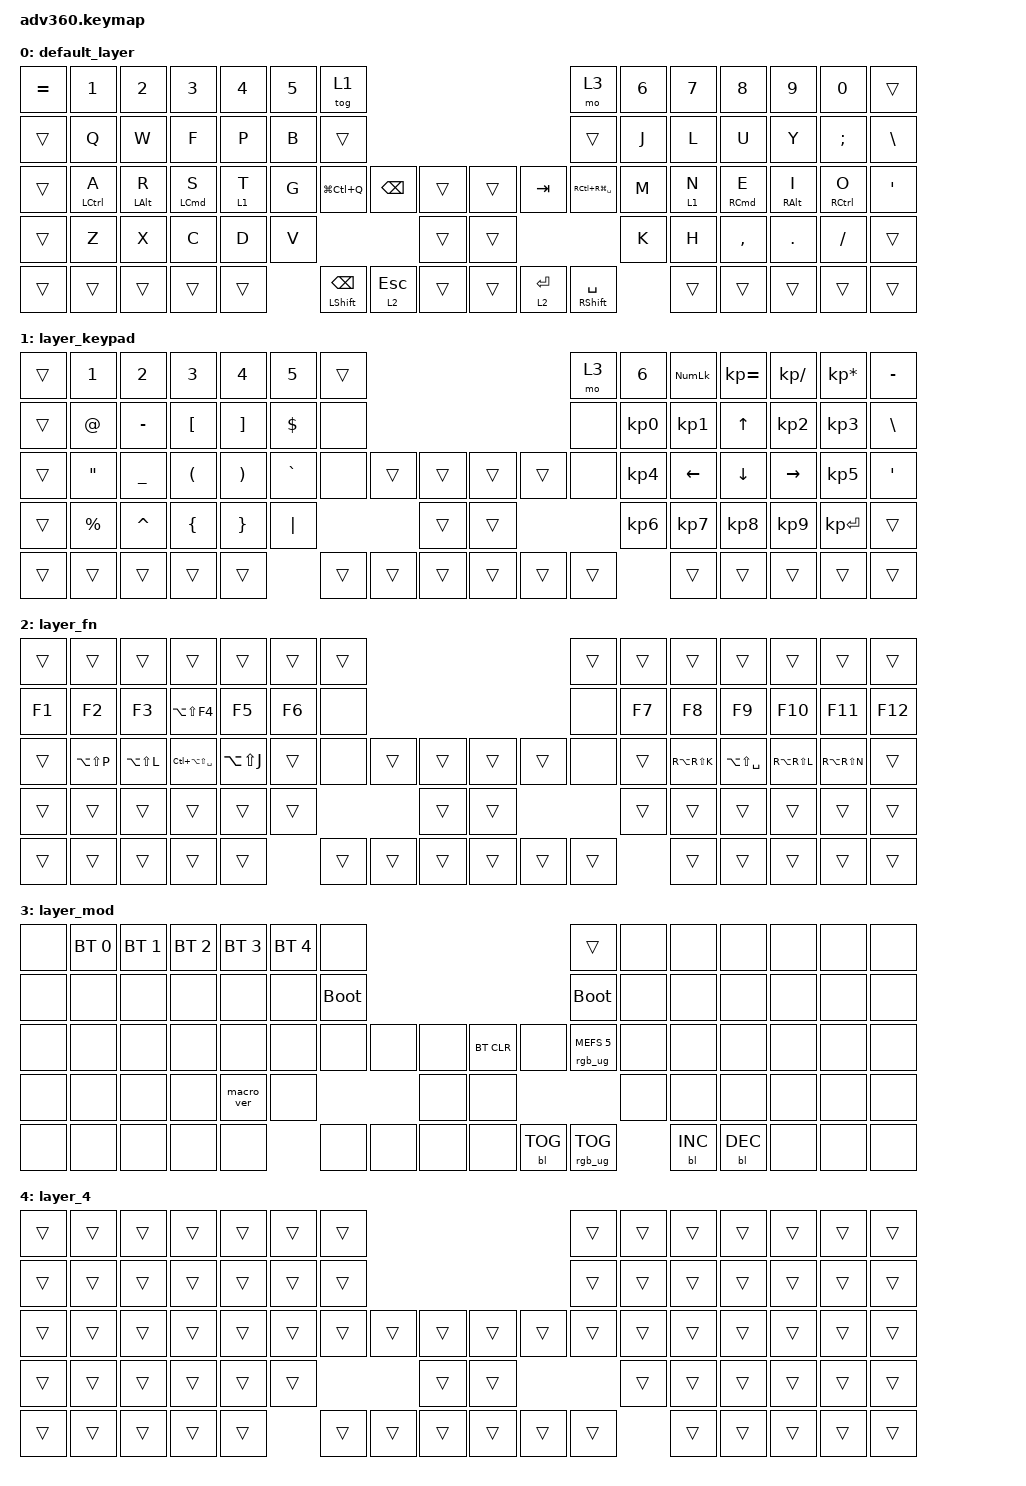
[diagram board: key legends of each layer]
/*
 * Copyright (c) 2020 The ZMK Contributors
 *
 * SPDX-License-Identifier: MIT
 */
/* THIS FILE WAS GENERATED!
 *
 * This file was generated automatically. You may or may not want to
 * edit it directly.
 */

#include <behaviors.dtsi>
#include <dt-bindings/zmk/backlight.h>
#include <dt-bindings/zmk/bt.h>
#include <dt-bindings/zmk/keys.h>
#include <dt-bindings/zmk/rgb.h>

&mt {
    flavor = "tap-preferred";
    tapping-term-ms = <200>;
};

/ {
    behaviors {
        #include "macros.dtsi"
    #include "version.dtsi"

        hm: homerow_mods {
            compatible = "zmk,behavior-hold-tap";
            label = "HOMEROW_MODS";
            #binding-cells = <2>;
            tapping-term-ms = <280>;
            quick_tap_ms = <175>;
            flavor = "balanced";
            bindings = <&kp>, <&kp>;

            quick-tap-ms = <175>;
            require-prior-idle-ms = <150>;
        };

        hm_left: hm_left {
            compatible = "zmk,behavior-hold-tap";
            label = "HM_LEFT";
            #binding-cells = <2>;
            tapping-term-ms = <300>;
            quick_tap_ms = <175>;
            flavor = "balanced";
            bindings = <&kp>, <&kp>;

            quick-tap-ms = <175>;
            require-prior-idle-ms = <175>;
            hold-trigger-on-release;
            hold-trigger-key-positions = <7 8 9 10 11 21 22 23 24 25 38 39 40 41 42 43 54 55 56 57 69 70 71 72 73 37 53 68 12 13 26 27 44 45 58 59 74 75>;
        };

        hm_right: hm_right {
            compatible = "zmk,behavior-hold-tap";
            label = "HM_RIGHT";
            #binding-cells = <2>;
            tapping-term-ms = <300>;
            quick_tap_ms = <175>;
            flavor = "balanced";
            bindings = <&kp>, <&kp>;

            quick-tap-ms = <175>;
            require-prior-idle-ms = <175>;
            hold-trigger-on-release;
            hold-trigger-key-positions = <0 1 2 3 4 5 6 14 15 16 17 18 19 20 28 29 30 31 32 33 34 35 36 46 47 48 49 50 51 52 60 61 62 63 64 65 66 67>;
        };

        favor_tap: favor_tap {
            compatible = "zmk,behavior-hold-tap";
            label = "FAVOR_TAP";
            bindings = <&kp>, <&kp>;

            #binding-cells = <2>;
            flavor = "tap-unless-interrupted";
            tapping-term-ms = <500>;
            quick-tap-ms = <200>;
            hold-while-undecided;
        };

        hl_left: hl_left {
            compatible = "zmk,behavior-hold-tap";
            label = "HL_LEFT";
            #binding-cells = <2>;
            tapping-term-ms = <300>;
            quick_tap_ms = <175>;
            flavor = "balanced";
            bindings = <&mo>, <&kp>;

            quick-tap-ms = <175>;
            require-prior-idle-ms = <175>;
            hold-trigger-on-release;
            hold-trigger-key-positions = <7 8 9 10 11 21 22 23 24 25 38 39 40 41 42 43 54 55 56 57 69 70 71 72 73 37 53 68 12 13 26 27 44 45 58 59 74 75>;
        };

        hl_right: hl_right {
            compatible = "zmk,behavior-hold-tap";
            label = "HL_RIGHT";
            #binding-cells = <2>;
            tapping-term-ms = <300>;
            quick_tap_ms = <175>;
            flavor = "balanced";
            bindings = <&mo>, <&kp>;

            quick-tap-ms = <175>;
            require-prior-idle-ms = <175>;
            hold-trigger-on-release;
            hold-trigger-key-positions = <0 1 2 3 4 5 6 14 15 16 17 18 19 20 28 29 30 31 32 33 34 35 36 46 47 48 49 50 51 52 60 61 62 63 64 65 66 67>;
        };
    };

    combos {
        compatible = "zmk,combos";

        shortcat {
            bindings = <&kp RG(BACKSPACE)>;
            key-positions = <70 65>;
        };

        cycle_apps {
            bindings = <&kp RG(TAB)>;
            key-positions = <66 69>;
        };
    };

    keymap {
        compatible = "zmk,keymap";

        default_layer {
            bindings = <
&kp EQUAL  &kp N1                   &kp N2               &kp N3                   &kp N4        &kp N5  &tog 1                                                                           &mo 3              &kp N6  &kp N7         &kp N8                     &kp N9                 &kp N0                     &trans
&trans     &kp Q                    &kp W                &kp F                    &kp P         &kp B   &trans                                                                           &trans             &kp J   &kp L          &kp U                      &kp Y                  &kp SEMICOLON              &kp BSLH
&trans     &hm_left LEFT_CONTROL A  &hm_left LEFT_ALT R  &hm_left LEFT_COMMAND S  &hl_left 1 T  &kp G   &kp LG(LC(Q))                    &kp BACKSPACE  &trans      &trans  &kp TAB      &kp RC(RG(SPACE))  &kp M   &hl_right 1 N  &hm_right RIGHT_COMMAND E  &hm_right RIGHT_ALT I  &hm_right RIGHT_CONTROL O  &kp SQT
&trans     &kp Z                    &kp X                &kp C                    &kp D         &kp V                                                   &trans      &trans                                  &kp K   &kp H          &kp COMMA                  &kp DOT                &kp FSLH                   &trans
&trans     &trans                   &trans               &trans                   &trans                &favor_tap LEFT_SHIFT BACKSPACE  &lt 2 ESC      &trans      &trans  &lt 2 ENTER  &mt RSHIFT SPACE           &trans         &trans                     &trans                 &trans                     &trans
            >;
        };

        layer_keypad {
            bindings = <
&trans  &kp N1             &kp N2          &kp N3                &kp N4                 &kp N5      &trans                                      &mo 3   &kp N6           &kp KP_NUM       &kp KP_EQUAL     &kp KP_DIVIDE    &kp KP_MULTIPLY  &kp MINUS
&trans  &kp AT_SIGN        &kp MINUS       &kp LEFT_BRACKET      &kp RIGHT_BRACKET      &kp DOLLAR  &none                                       &none   &kp KP_N0        &kp KP_N1        &kp UP_ARROW     &kp KP_NUMBER_2  &kp KP_NUMBER_3  &kp BSLH
&trans  &kp DOUBLE_QUOTES  &kp UNDERSCORE  &kp LEFT_PARENTHESIS  &kp RIGHT_PARENTHESIS  &kp GRAVE   &none   &trans  &trans      &trans  &trans  &none   &kp KP_NUMBER_4  &kp LEFT_ARROW   &kp DOWN_ARROW   &kp RIGHT        &kp KP_N5        &kp SQT
&trans  &kp PERCENT        &kp CARET       &kp LEFT_BRACE        &kp RIGHT_BRACE        &kp PIPE                    &trans      &trans                  &kp KP_NUMBER_6  &kp KP_NUMBER_7  &kp KP_NUMBER_8  &kp KP_NUMBER_9  &kp KP_ENTER     &trans
&trans  &trans             &trans          &trans                &trans                             &trans  &trans  &trans      &trans  &trans  &trans                   &trans           &trans           &trans           &trans           &trans
            >;
        };

        layer_fn {
            bindings = <
&trans  &trans         &trans         &trans                 &trans         &trans  &trans                                      &trans  &trans  &trans         &trans             &trans         &trans         &trans
&kp F1  &kp F2         &kp F3         &kp LA(LS(F4))         &kp F5         &kp F6  &none                                       &none   &kp F7  &kp F8         &kp F9             &kp F10        &kp F11        &kp F12
&trans  &kp LA(LS(P))  &kp LA(LS(L))  &kp LC(LA(LS(SPACE)))  &kp LA(LS(J))  &trans  &none   &trans  &trans      &trans  &trans  &none   &trans  &kp RA(RS(K))  &kp LA(LS(SPACE))  &kp RA(RS(L))  &kp RA(RS(N))  &trans
&trans  &trans         &trans         &trans                 &trans         &trans                  &trans      &trans                  &trans  &trans         &trans             &trans         &trans         &trans
&trans  &trans         &trans         &trans                 &trans                 &trans  &trans  &trans      &trans  &trans  &trans          &trans         &trans             &trans         &trans         &trans
            >;
        };

        layer_mod {
            bindings = <
&none  &bt BT_SEL 0  &bt BT_SEL 1  &bt BT_SEL 2  &bt BT_SEL 3  &bt BT_SEL 4  &none                                                  &trans                  &none  &none       &none       &none  &none  &none
&none  &none         &none         &none         &none         &none         &bootloader                                            &bootloader             &none  &none       &none       &none  &none  &none
&none  &none         &none         &none         &none         &none         &none        &none  &none      &bt BT_CLR  &none       &rgb_ug RGB_MEFS_CMD 5  &none  &none       &none       &none  &none  &none
&none  &none         &none         &none         &macro_ver    &none                             &none      &none                                           &none  &none       &none       &none  &none  &none
&none  &none         &none         &none         &none                       &none        &none  &none      &none       &bl BL_TOG  &rgb_ug RGB_TOG                &bl BL_INC  &bl BL_DEC  &none  &none  &none
            >;
        };

        layer_4 {
            bindings = <
&trans  &trans  &trans  &trans  &trans  &trans  &trans                                      &trans  &trans  &trans  &trans  &trans  &trans  &trans
&trans  &trans  &trans  &trans  &trans  &trans  &trans                                      &trans  &trans  &trans  &trans  &trans  &trans  &trans
&trans  &trans  &trans  &trans  &trans  &trans  &trans  &trans  &trans      &trans  &trans  &trans  &trans  &trans  &trans  &trans  &trans  &trans
&trans  &trans  &trans  &trans  &trans  &trans                  &trans      &trans                  &trans  &trans  &trans  &trans  &trans  &trans
&trans  &trans  &trans  &trans  &trans          &trans  &trans  &trans      &trans  &trans  &trans          &trans  &trans  &trans  &trans  &trans
            >;
        };
    };
};
